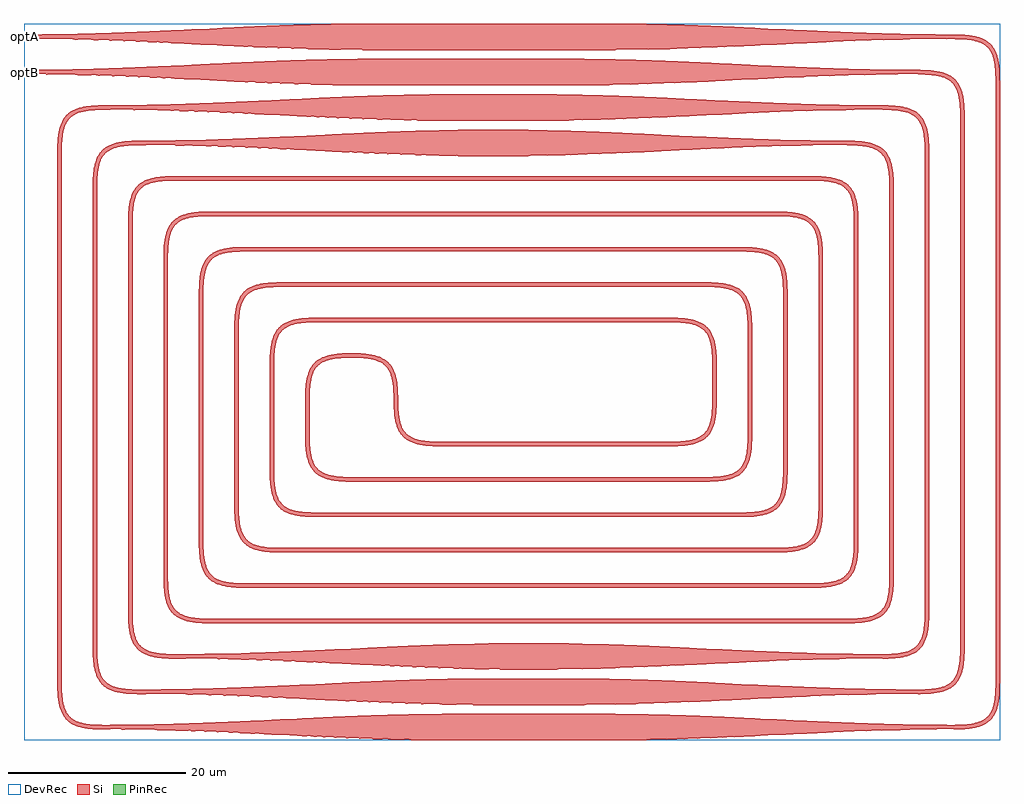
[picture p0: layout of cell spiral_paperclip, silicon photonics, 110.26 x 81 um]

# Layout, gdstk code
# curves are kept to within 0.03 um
import gdstk
lib = gdstk.Library(unit=1e-6, precision=1e-09)
def R(c, l, rs):  # rectangles x0, y0, x1, y1
    for r in rs: c.add(gdstk.rectangle(r[:2], r[2:], *l))
def P(c, l, *ps):  # polygons
    for p in ps: c.add(gdstk.Polygon(p, *l))
Si = (1, 0)
PinRec = (1, 10)
DevRec = (68, 0)

spiral_paperclip = lib.new_cell('spiral_paperclip')
R(spiral_paperclip, Si, [(-6,-38.5,10,-35.5), (-2,-34.5,6,-31.5), (-6,31.5,2,34.5), (-15,35.5,6,38.5), (-15,39.5,10,42.5)])
P(spiral_paperclip, Si, [(46,-33.25),(46,-32.75),(47.386,-32.696),(48.48,-32.521),(49.304,-32.209),(49.668,-31.965),(49.897,-31.746),(50.314,-31.093),(50.555,-30.341),(50.712,-29.206),(50.75,-28),(50.75,32),(50.711,33.207),(50.584,34.197),(50.405,34.865),(50.093,35.494),(49.667,35.966),(49.093,36.314),(48.341,36.555),(47.206,36.712),(46,36.75),(46,37.25),(47.431,37.195),(48.603,37.006),(49.167,36.825),(49.543,36.648),(50.177,36.177),(50.647,35.544),(50.824,35.168),(51.005,34.604),(51.194,33.432),(51.25,32),(51.25,-28),(51.195,-29.431),(51.043,-30.449),(50.77,-31.297),(50.433,-31.88),(49.881,-32.432),(49.298,-32.769),(48.45,-33.042),(47.432,-33.194)],
  [(-42,-33.25),(-43.431,-33.195),(-44.603,-33.006),(-45.167,-32.825),(-45.543,-32.648),(-46.177,-32.177),(-46.647,-31.544),(-46.824,-31.168),(-47.005,-30.604),(-47.194,-29.432),(-47.25,-28),(-47.25,24),(-47.195,25.431),(-47.043,26.449),(-46.77,27.297),(-46.433,27.88),(-45.881,28.432),(-45.298,28.769),(-44.45,29.042),(-43.432,29.194),(-42,29.25),(-42,28.75),(-43.386,28.696),(-44.48,28.521),(-45.304,28.209),(-45.668,27.965),(-45.897,27.746),(-46.314,27.093),(-46.555,26.341),(-46.712,25.206),(-46.75,24),(-46.75,-28),(-46.711,-29.207),(-46.584,-30.197),(-46.405,-30.865),(-46.093,-31.494),(-45.667,-31.966),(-45.093,-32.314),(-44.341,-32.555),(-43.206,-32.712),(-42,-32.75)],
  [(-38,-29.25),(-39.432,-29.194),(-40.45,-29.042),(-41.298,-28.769),(-41.881,-28.432),(-42.433,-27.88),(-42.825,-27.167),(-43.075,-26.292),(-43.21,-25.242),(-43.25,-24),(-43.24,20.648),(-43.131,21.964),(-42.875,23.033),(-42.647,23.544),(-42.432,23.881),(-41.88,24.433),(-41.297,24.77),(-40.449,25.043),(-39.431,25.195),(-38,25.25),(34,25.25),(35.243,25.209),(36.131,25.104),(37.033,24.875),(37.661,24.58),(38.083,24.266),(38.352,23.983),(38.581,23.66),(38.825,23.167),(39.105,22.13),(39.241,20.647),(39.25,-16),(39.155,-17.791),(39.042,-18.45),(38.875,-19.033),(38.647,-19.544),(38.432,-19.881),(38.082,-20.267),(37.66,-20.581),(37.032,-20.876),(36.292,-21.075),(35.431,-21.195),(34.221,-21.249),(-30.648,-21.24),(-31.614,-21.176),(-32.45,-21.042),(-33.168,-20.824),(-33.772,-20.509),(-34.177,-20.177),(-34.581,-19.66),(-34.876,-19.032),(-35.075,-18.292),(-35.21,-17.242),(-35.25,-16),(-35.25,12),(-35.155,13.791),(-34.965,14.751),(-34.71,15.423),(-34.351,15.984),(-33.88,16.433),(-33.297,16.77),(-32.603,17.006),(-31.79,17.156),(-30.647,17.241),(26,17.25),(27.243,17.209),(28.293,17.074),(29.033,16.875),(29.772,16.509),(30.267,16.082),(30.648,15.543),(30.966,14.75),(31.132,13.963),(31.233,12.851),(31.25,-8),(31.209,-9.243),(31.074,-10.293),(30.875,-11.033),(30.58,-11.661),(30.177,-12.177),(29.66,-12.581),(29.032,-12.876),(28.292,-13.075),(27.431,-13.195),(26.221,-13.249),(-22,-13.25),(-23.432,-13.194),(-24.45,-13.042),(-25.168,-12.824),(-25.772,-12.509),(-26.267,-12.082),(-26.648,-11.543),(-26.966,-10.75),(-27.132,-9.963),(-27.233,-8.851),(-27.245,4.438),(-27.155,5.791),(-26.965,6.751),(-26.769,7.298),(-26.432,7.881),(-26.082,8.267),(-25.543,8.648),(-24.893,8.923),(-24.13,9.105),(-23.242,9.21),(-22.221,9.249),(18,9.25),(19.432,9.194),(20.293,9.074),(21.033,8.875),(21.661,8.58),(22.177,8.177),(22.581,7.66),(22.876,7.032),(23.075,6.292),(23.21,5.242),(23.25,4),(23.222,-1.05),(23.074,-2.293),(22.769,-3.298),(22.509,-3.772),(22.177,-4.177),(21.771,-4.51),(21.297,-4.77),(20.75,-4.966),(20.13,-5.105),(19.431,-5.195),(18.437,-5.246),(-8,-5.25),(-9.432,-5.194),(-10.604,-5.005),(-11.423,-4.71),(-11.984,-4.351),(-12.433,-3.88),(-12.825,-3.167),(-13.043,-2.449),(-13.177,-1.613),(-13.289,1.207),(-13.416,2.197),(-13.554,2.742),(-13.738,3.201),(-13.97,3.583),(-14.254,3.897),(-14.697,4.21),(-15.136,4.406),(-15.804,4.585),(-16.615,4.697),(-17.783,4.749),(-19.207,4.711),(-20.045,4.612),(-20.742,4.446),(-21.304,4.209),(-21.668,3.965),(-22.031,3.582),(-22.314,3.093),(-22.522,2.479),(-22.638,1.889),(-22.749,0.217),(-22.74,-4.632),(-22.678,-5.56),(-22.554,-6.342),(-22.313,-7.094),(-21.965,-7.668),(-21.493,-8.094),(-20.864,-8.406),(-20.341,-8.555),(-19.728,-8.66),(-18.217,-8.749),(22,-8.75),(23.729,-8.659),(24.342,-8.554),(24.982,-8.36),(25.401,-8.152),(25.747,-7.896),(26.094,-7.493),(26.314,-7.093),(26.522,-6.479),(26.638,-5.889),(26.749,-4.217),(26.75,8),(26.696,9.386),(26.521,10.48),(26.209,11.304),(25.965,11.668),(25.746,11.897),(25.093,12.314),(24.479,12.522),(23.889,12.638),(22.217,12.749),(-26,12.75),(-27.207,12.711),(-27.89,12.637),(-28.613,12.485),(-29.201,12.262),(-29.668,11.965),(-29.966,11.667),(-30.21,11.303),(-30.406,10.864),(-30.555,10.341),(-30.66,9.728),(-30.75,8),(-30.75,-12),(-30.711,-13.207),(-30.554,-14.342),(-30.313,-15.094),(-29.896,-15.747),(-29.667,-15.966),(-29.303,-16.21),(-28.741,-16.447),(-28.044,-16.613),(-27.206,-16.712),(-26.217,-16.749),(30,-16.75),(31.207,-16.711),(32.045,-16.612),(32.865,-16.405),(33.401,-16.152),(33.668,-15.965),(33.966,-15.667),(34.21,-15.303),(34.406,-14.864),(34.638,-13.889),(34.741,-12.631),(34.75,16),(34.696,17.386),(34.554,18.342),(34.313,19.094),(33.965,19.668),(33.582,20.031),(32.981,20.361),(32.196,20.585),(31.206,20.712),(30,20.75),(-34,20.75),(-35.207,20.711),(-36.045,20.612),(-36.865,20.405),(-37.401,20.152),(-37.668,19.965),(-37.966,19.667),(-38.21,19.303),(-38.406,18.864),(-38.638,17.889),(-38.741,16.631),(-38.745,-20.428),(-38.678,-21.56),(-38.521,-22.48),(-38.313,-23.094),(-37.965,-23.668),(-37.493,-24.094),(-36.864,-24.406),(-36.044,-24.613),(-35.021,-24.723),(38.83,-24.732),(39.89,-24.637),(40.613,-24.485),(41.304,-24.209),(41.747,-23.896),(42.094,-23.493),(42.406,-22.864),(42.585,-22.196),(42.712,-21.206),(42.75,-20),(42.745,24.428),(42.659,25.729),(42.485,26.613),(42.209,27.304),(41.823,27.823),(41.303,28.21),(40.479,28.522),(39.385,28.697),(38,28.75),(38,29.25),(39.613,29.177),(40.292,29.075),(40.893,28.923),(41.297,28.77),(41.771,28.51),(42.177,28.177),(42.432,27.881),(42.769,27.298),(43.042,26.45),(43.176,25.614),(43.245,24.438),(43.25,-20),(43.21,-21.242),(43.075,-22.292),(42.876,-23.032),(42.51,-23.771),(42.083,-24.266),(41.544,-24.647),(40.751,-24.965),(39.964,-25.131),(38.852,-25.232),(-35.049,-25.223),(-36.13,-25.105),(-37.032,-24.876),(-37.771,-24.51),(-38.266,-24.083),(-38.647,-23.544),(-38.965,-22.751),(-39.155,-21.791),(-39.24,-20.648),(-39.25,16),(-39.156,17.79),(-38.966,18.75),(-38.711,19.422),(-38.267,20.082),(-37.772,20.509),(-37.168,20.824),(-36.293,21.074),(-35.243,21.209),(-34,21.25),(30,21.25),(31.242,21.21),(32.292,21.075),(33.167,20.825),(33.88,20.433),(34.351,19.984),(34.71,19.423),(35.005,18.604),(35.176,17.614),(35.245,16.438),(35.25,-12),(35.223,-13.049),(35.132,-13.963),(34.923,-14.893),(34.648,-15.543),(34.267,-16.082),(33.772,-16.509),(33.168,-16.824),(32.293,-17.074),(31.243,-17.209),(30,-17.25),(-26,-17.25),(-27.242,-17.21),(-28.292,-17.075),(-29.167,-16.825),(-29.88,-16.433),(-30.351,-15.984),(-30.71,-15.423),(-31.005,-14.604),(-31.176,-13.614),(-31.245,-12.438),(-31.249,8.221),(-31.195,9.431),(-31.043,10.449),(-30.825,11.167),(-30.51,11.771),(-30.083,12.266),(-29.544,12.647),(-28.894,12.922),(-28.131,13.104),(-27.243,13.209),(-26,13.25),(22,13.25),(23.431,13.195),(24.449,13.043),(25.167,12.825),(25.88,12.433),(26.351,11.984),(26.71,11.423),(27.005,10.604),(27.155,9.791),(27.24,8.648),(27.246,-4.437),(27.156,-5.79),(26.966,-6.75),(26.711,-7.422),(26.352,-7.983),(25.881,-8.432),(25.423,-8.71),(24.751,-8.965),(23.964,-9.131),(23.05,-9.222),(22,-9.25),(-18,-9.25),(-19.431,-9.195),(-20.449,-9.043),(-21.167,-8.825),(-21.771,-8.51),(-22.266,-8.083),(-22.647,-7.544),(-22.922,-6.894),(-23.104,-6.131),(-23.222,-5.05),(-23.223,1.049),(-23.043,2.449),(-22.876,3.032),(-22.711,3.422),(-22.433,3.88),(-22.083,4.266),(-21.661,4.58),(-21.168,4.824),(-20.604,5.005),(-19.964,5.131),(-18.223,5.248),(-16.569,5.195),(-15.87,5.105),(-15.25,4.966),(-14.833,4.825),(-14.34,4.581),(-13.918,4.267),(-13.649,3.984),(-13.42,3.661),(-13.176,3.168),(-12.896,2.131),(-12.778,1.05),(-12.697,-1.385),(-12.585,-2.196),(-12.406,-2.864),(-12.094,-3.493),(-11.668,-3.965),(-11.094,-4.313),(-10.48,-4.521),(-9.386,-4.696),(-8,-4.75),(18,-4.75),(19.559,-4.679),(20.196,-4.585),(20.741,-4.447),(21.303,-4.21),(21.667,-3.966),(22.03,-3.583),(22.313,-3.094),(22.521,-2.48),(22.637,-1.89),(22.748,-0.217),(22.741,4.631),(22.679,5.559),(22.555,6.341),(22.314,7.093),(21.966,7.667),(21.494,8.093),(20.865,8.405),(20.342,8.554),(19.729,8.659),(18,8.75),(-22,8.75),(-23.728,8.66),(-24.341,8.555),(-24.981,8.361),(-25.493,8.094),(-25.823,7.823),(-26.093,7.494),(-26.36,6.982),(-26.554,6.342),(-26.659,5.729),(-26.75,4),(-26.75,-8),(-26.697,-9.385),(-26.522,-10.479),(-26.21,-11.303),(-25.966,-11.667),(-25.747,-11.896),(-25.094,-12.313),(-24.48,-12.521),(-23.89,-12.637),(-23.207,-12.711),(-22,-12.75),(26.217,-12.749),(27.889,-12.638),(28.479,-12.522),(29.093,-12.314),(29.493,-12.094),(29.896,-11.747),(30.209,-11.304),(30.405,-10.865),(30.554,-10.342),(30.659,-9.729),(30.75,-8),(30.75,12),(30.712,13.206),(30.555,14.341),(30.314,15.093),(29.897,15.746),(29.668,15.965),(29.304,16.209),(28.742,16.446),(28.045,16.612),(27.207,16.711),(26,16.75),(-30.217,16.749),(-31.206,16.712),(-32.044,16.613),(-32.741,16.447),(-33.303,16.21),(-33.667,15.966),(-33.965,15.668),(-34.209,15.304),(-34.405,14.865),(-34.554,14.342),(-34.659,13.729),(-34.75,12),(-34.733,-16.829),(-34.585,-18.196),(-34.314,-19.093),(-33.897,-19.746),(-33.668,-19.965),(-33.304,-20.209),(-32.742,-20.446),(-32.045,-20.612),(-31.207,-20.711),(-30,-20.75),(34.217,-20.749),(35.206,-20.712),(36.044,-20.613),(36.741,-20.447),(37.303,-20.21),(37.667,-19.966),(37.965,-19.668),(38.209,-19.304),(38.405,-18.865),(38.554,-18.342),(38.659,-17.729),(38.75,-16),(38.741,20.631),(38.638,21.889),(38.406,22.864),(38.21,23.303),(37.966,23.667),(37.668,23.965),(37.401,24.152),(36.865,24.405),(36.045,24.612),(35.207,24.711),(34,24.75),(-38,24.75),(-39.206,24.712),(-40.196,24.585),(-40.981,24.361),(-41.582,24.031),(-41.896,23.747),(-42.093,23.494),(-42.446,22.742),(-42.659,21.729),(-42.745,20.428),(-42.75,-24),(-42.712,-25.206),(-42.585,-26.196),(-42.406,-26.864),(-42.094,-27.493),(-41.668,-27.965),(-41.094,-28.313),(-40.342,-28.554),(-39.207,-28.711),(-38,-28.75)],
  [(42,-29.25),(42,-28.75),(43.385,-28.697),(44.479,-28.522),(45.303,-28.21),(45.667,-27.966),(45.896,-27.747),(46.313,-27.094),(46.554,-26.342),(46.711,-25.207),(46.75,-24),(46.75,28),(46.712,29.206),(46.585,30.196),(46.406,30.864),(46.094,31.493),(45.668,31.965),(45.094,32.313),(44.342,32.554),(43.207,32.711),(42,32.75),(42,33.25),(43.432,33.194),(44.604,33.005),(45.168,32.824),(45.544,32.647),(46.177,32.177),(46.648,31.543),(46.825,31.167),(47.006,30.603),(47.195,29.431),(47.25,28),(47.25,-24),(47.194,-25.432),(47.042,-26.45),(46.769,-27.298),(46.432,-27.881),(45.88,-28.433),(45.297,-28.77),(44.449,-29.043),(43.431,-29.195)],
  [(-46,-37.25),(-47.432,-37.194),(-48.604,-37.005),(-49.168,-36.824),(-49.544,-36.647),(-50.177,-36.177),(-50.648,-35.543),(-50.825,-35.167),(-51.006,-34.603),(-51.195,-33.431),(-51.25,-32),(-51.25,28),(-51.194,29.432),(-51.042,30.45),(-50.769,31.298),(-50.432,31.881),(-49.88,32.433),(-49.297,32.77),(-48.449,33.043),(-47.431,33.195),(-46,33.25),(-46,32.75),(-47.385,32.697),(-48.479,32.522),(-49.303,32.21),(-49.667,31.966),(-49.896,31.747),(-50.313,31.094),(-50.554,30.342),(-50.711,29.207),(-50.75,28),(-50.75,-32),(-50.712,-33.206),(-50.585,-34.196),(-50.406,-34.864),(-50.094,-35.493),(-49.668,-35.965),(-49.094,-36.313),(-48.342,-36.554),(-47.207,-36.711),(-46,-36.75)],
  [(50,-37.25),(50,-36.75),(51.385,-36.697),(52.479,-36.522),(53.303,-36.21),(53.667,-35.966),(53.896,-35.747),(54.313,-35.094),(54.554,-34.342),(54.711,-33.207),(54.75,-32),(54.75,36),(54.712,37.206),(54.585,38.196),(54.406,38.864),(54.094,39.493),(53.668,39.965),(53.094,40.313),(52.342,40.554),(51.207,40.711),(50,40.75),(50,41.25),(51.432,41.194),(52.604,41.005),(53.168,40.824),(53.544,40.647),(54.177,40.177),(54.648,39.543),(54.825,39.167),(55.006,38.603),(55.195,37.431),(55.25,36),(55.25,-32),(55.209,-33.243),(55.074,-34.293),(54.824,-35.168),(54.432,-35.881),(53.88,-36.433),(53.297,-36.77),(52.449,-37.043),(51.431,-37.195)],
  [(-15,35.5),(-20.28,35.553),(-25.28,35.693),(-46.12,36.605),(-50.72,36.716),(-55,36.75),(-55,37.25),(-50.72,37.284),(-46.28,37.39),(-41.4,37.573),(-25.28,38.307),(-20.28,38.447),(-15,38.5)],
  [(6,35.5),(6,38.5),(11.28,38.447),(16.28,38.307),(37.12,37.395),(41.72,37.284),(46,37.25),(46,36.75),(41.72,36.716),(37.28,36.61),(32.4,36.427),(16.28,35.693),(11.28,35.553)],
  [(6,-34.5),(6,-31.5),(11.28,-31.553),(16.28,-31.693),(37.12,-32.605),(41.72,-32.716),(46,-32.75),(46,-33.25),(41.72,-33.284),(37.28,-33.39),(32.4,-33.573),(16.28,-34.307),(11.28,-34.447)],
  [(-2,-34.5),(-7.28,-34.447),(-12.28,-34.307),(-33.12,-33.395),(-37.72,-33.284),(-42,-33.25),(-42,-32.75),(-37.72,-32.716),(-33.28,-32.61),(-28.4,-32.427),(-12.28,-31.693),(-7.28,-31.553),(-2,-31.5)],
  [(-2,27.5),(-7.28,27.553),(-12.28,27.693),(-33.12,28.605),(-37.72,28.716),(-42,28.75),(-42,29.25),(-37.72,29.284),(-33.28,29.39),(-28.4,29.573),(-12.28,30.307),(-7.28,30.447),(-2,30.5)],
  [(-2,27.5),(-2,30.5),(3.28,30.447),(8.28,30.307),(29.12,29.395),(33.72,29.284),(38,29.25),(38,28.75),(33.72,28.716),(29.28,28.61),(24.4,28.427),(8.28,27.693),(3.28,27.553)],
  [(2,-30.5),(-3.28,-30.447),(-8.28,-30.307),(-29.12,-29.395),(-33.72,-29.284),(-38,-29.25),(-38,-28.75),(-33.72,-28.716),(-29.28,-28.61),(-24.4,-28.427),(-8.28,-27.693),(-3.28,-27.553),(2,-27.5)],
  [(2,-30.5),(2,-27.5),(7.28,-27.553),(12.28,-27.693),(33.12,-28.605),(37.72,-28.716),(42,-28.75),(42,-29.25),(37.72,-29.284),(33.28,-29.39),(28.4,-29.573),(12.28,-30.307),(7.28,-30.447)],
  [(2,31.5),(2,34.5),(7.28,34.447),(12.28,34.307),(33.12,33.395),(37.72,33.284),(42,33.25),(42,32.75),(37.72,32.716),(33.28,32.61),(28.4,32.427),(12.28,31.693),(7.28,31.553)],
  [(-6,31.5),(-11.28,31.553),(-16.28,31.693),(-37.12,32.605),(-41.72,32.716),(-46,32.75),(-46,33.25),(-41.72,33.284),(-37.28,33.39),(-32.4,33.573),(-16.28,34.307),(-11.28,34.447),(-6,34.5)],
  [(-6,-38.5),(-11.28,-38.447),(-16.28,-38.307),(-37.12,-37.395),(-41.72,-37.284),(-46,-37.25),(-46,-36.75),(-41.72,-36.716),(-37.28,-36.61),(-32.4,-36.427),(-16.28,-35.693),(-11.28,-35.553),(-6,-35.5)],
  [(10,-38.5),(10,-35.5),(15.28,-35.553),(20.28,-35.693),(41.12,-36.605),(45.72,-36.716),(50,-36.75),(50,-37.25),(45.72,-37.284),(41.28,-37.39),(36.4,-37.573),(20.28,-38.307),(15.28,-38.447)],
  [(10,39.5),(10,42.5),(15.28,42.447),(20.28,42.307),(41.12,41.395),(45.72,41.284),(50,41.25),(50,40.75),(45.72,40.716),(41.28,40.61),(36.4,40.427),(20.28,39.693),(15.28,39.553)],
  [(-15,39.5),(-20.28,39.553),(-25.28,39.693),(-46.12,40.605),(-50.72,40.716),(-55,40.75),(-55,41.25),(-50.72,41.284),(-46.28,41.39),(-41.4,41.573),(-25.28,42.307),(-20.28,42.447),(-15,42.5)])
R(spiral_paperclip, DevRec, [(-55,-38.5,55.25,42.5)])
spiral_paperclip.add(gdstk.FlexPath([(-54.99,41),(-55.01,41)], 0.5, ends="flush", simple_path=True, layer=1, datatype=10))  # PinRec
spiral_paperclip.add(gdstk.FlexPath([(-54.99,37),(-55.01,37)], 0.5, ends="flush", simple_path=True, layer=1, datatype=10))  # PinRec
spiral_paperclip.add(gdstk.Label('optA', (-55,41), layer=1, texttype=10))
spiral_paperclip.add(gdstk.Label('optB', (-55,37), layer=1, texttype=10))

lib.write_gds('spiral_paperclip.gds')
